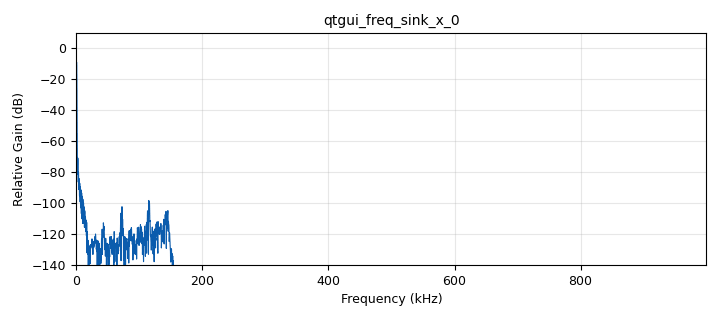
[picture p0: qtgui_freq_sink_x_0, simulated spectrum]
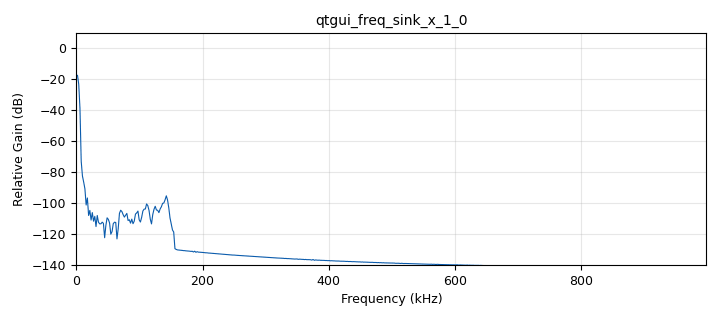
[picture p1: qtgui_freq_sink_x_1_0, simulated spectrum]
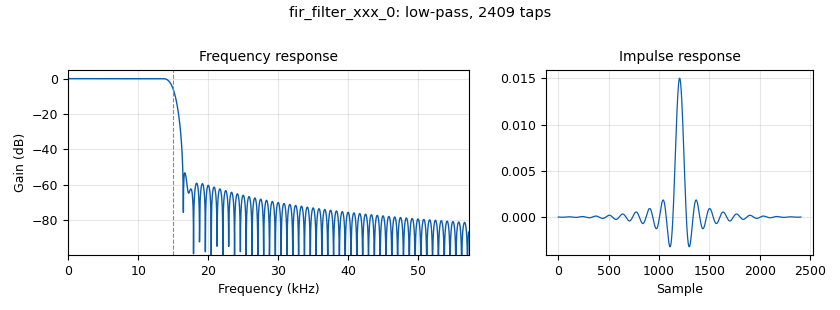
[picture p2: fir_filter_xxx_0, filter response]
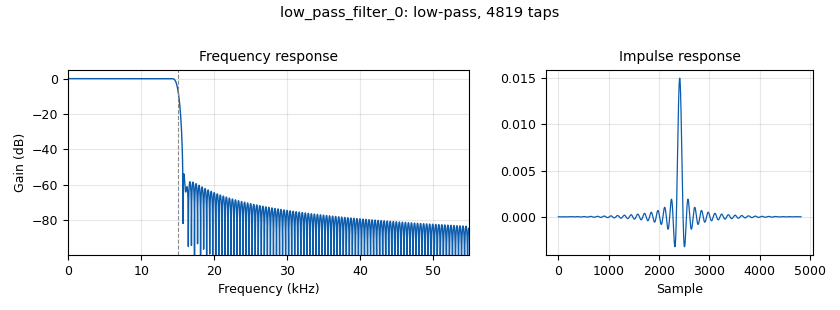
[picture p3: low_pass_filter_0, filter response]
options:
  parameters:
    generate_options: qt_gui
    id: top_block
    output_language: python
  states: {}

blocks:
- name: Amplitud_LR
  id: variable_qtgui_range
  parameters:
    start: '0'
    step: '0.1'
    stop: '1'
    value: '1'
  states: {}
- name: amp_pilot
  id: variable_qtgui_range
  parameters:
    start: '0'
    step: '0.01'
    stop: '1'
    value: '0.22'
  states: {}
- name: deltaf
  id: variable
  parameters:
    value: 75e3
  states: {}
- name: fcia
  id: variable_qtgui_range
  parameters:
    label: fcia
    start: 18e3
    step: '100'
    stop: 20e3
    value: 19e3
  states: {}
- name: frec_L
  id: variable_qtgui_range
  parameters:
    start: '0'
    step: '1'
    stop: 15e3
    value: '50'
  states: {}
- name: frec_R
  id: variable_qtgui_range
  parameters:
    start: '0'
    step: '1'
    stop: 15e3
    value: '50'
  states: {}
- name: gain
  id: variable_qtgui_range
  parameters:
    start: '0'
    step: '1'
    stop: '40'
    value: '1'
  states: {}
- name: samp_rate
  id: variable
  parameters:
    value: 2e6
  states: {}
- name: variable_low_pass_filter_taps_0
  id: variable_low_pass_filter_taps
  parameters:
    cutoff_freq: 15e3
    gain: '1.0'
    samp_rate: samp_rate
    width: 2e3
    win: window.WIN_HAMMING
  states: {}
- name: analog_const_source_x_0
  id: analog_const_source_x
  parameters:
    const: '0'
    type: float
  states: {}
- name: analog_frequency_modulator_fc_0
  id: analog_frequency_modulator_fc
  parameters:
    sensitivity: 2*np.pi*deltaf/samp_rate
  states: {}
- name: analog_pll_refout_cc_0
  id: analog_pll_refout_cc
  parameters:
    max_freq: 2 *np.pi* 19200 / samp_rate
    min_freq: 2 * np.pi* 18800 / samp_rate
    w: '100e-6'
  states: {}
- name: analog_quadrature_demod_cf_0
  id: analog_quadrature_demod_cf
  parameters:
    gain: samp_rate/(2*np.pi*deltaf)
  states: {}
- name: analog_sig_source_x_0
  id: analog_sig_source_x
  parameters:
    amp: amp_pilot
    freq: 19e3
    offset: '0'
    phase: '0'
    samp_rate: samp_rate
    type: float
    waveform: analog.GR_SIN_WAVE
  states: {}
- name: analog_sig_source_x_1
  id: analog_sig_source_x
  parameters:
    amp: '1'
    freq: 38e3
    offset: '0'
    phase: '0'
    samp_rate: samp_rate
    type: float
    waveform: analog.GR_SIN_WAVE
  states: {}
- name: analog_sig_source_x_2
  id: analog_sig_source_x
  parameters:
    amp: Amplitud_LR
    comment: L
    freq: frec_L
    offset: '0'
    phase: '0'
    samp_rate: samp_rate
    type: float
    waveform: analog.GR_COS_WAVE
  states: {}
- name: analog_sig_source_x_3
  id: analog_sig_source_x
  parameters:
    amp: Amplitud_LR
    comment: R
    freq: frec_R
    offset: '0'
    phase: '0'
    samp_rate: samp_rate
    type: float
    waveform: analog.GR_COS_WAVE
  states: {}
- name: blocks_add_xx_0
  id: blocks_add_xx
  parameters:
    type: float
  states: {}
- name: blocks_add_xx_0_0
  id: blocks_add_xx
  parameters:
    comment: Mono
    type: float
  states: {}
- name: blocks_add_xx_1
  id: blocks_add_xx
  parameters:
    comment: MPX
    num_inputs: '3'
    type: float
  states: {}
- name: blocks_complex_to_imag_0
  id: blocks_complex_to_imag
  parameters: {}
  states: {}
- name: blocks_float_to_complex_0
  id: blocks_float_to_complex
  parameters: {}
  states: {}
- name: blocks_multiply_const_vxx_0
  id: blocks_multiply_const_vxx
  parameters:
    const: '2'
    type: float
  states: {}
- name: blocks_multiply_xx_0
  id: blocks_multiply_xx
  parameters:
    type: complex
  states: {}
- name: blocks_multiply_xx_0_0
  id: blocks_multiply_xx
  parameters:
    type: float
  states: {}
- name: blocks_multiply_xx_1
  id: blocks_multiply_xx
  parameters:
    type: float
  states: {}
- name: blocks_sub_xx_0
  id: blocks_sub_xx
  parameters:
    comment: Stereo
    type: float
  states: {}
- name: blocks_sub_xx_0_0
  id: blocks_sub_xx
  parameters:
    type: float
  states: {}
- name: blocks_throttle_0
  id: blocks_throttle
  parameters:
    samples_per_second: samp_rate
    type: float
  states: {}
- name: fir_filter_xxx_0
  id: fir_filter_xxx
  parameters:
    decim: '10'
    taps: variable_low_pass_filter_taps_0
    type: fff
  states: {}
- name: fir_filter_xxx_0_0
  id: fir_filter_xxx
  parameters:
    decim: '10'
    taps: variable_low_pass_filter_taps_0
    type: fff
  states: {}
- name: import_0
  id: import
  parameters:
    imports: import numpy as np
  states: {}
- name: low_pass_filter_0
  id: low_pass_filter
  parameters:
    cutoff_freq: 15e3
    decim: '1'
    gain: '1'
    samp_rate: samp_rate
    type: fir_filter_fff
    width: 1e3
    win: window.WIN_HAMMING
  states: {}
- name: low_pass_filter_0_0
  id: low_pass_filter
  parameters:
    cutoff_freq: 15e3
    decim: '1'
    gain: '1'
    samp_rate: samp_rate
    type: fir_filter_fff
    width: 1e3
    win: window.WIN_HAMMING
  states: {}
- name: qtgui_freq_sink_x_0
  id: qtgui_freq_sink_x
  parameters:
    bw: samp_rate
    comment: L
    fc: '0'
    fftsize: '8192'
    freqhalf: 'False'
    type: float
  states: {}
- name: qtgui_freq_sink_x_1_0
  id: qtgui_freq_sink_x
  parameters:
    bw: samp_rate
    comment: R
    fc: '0'
    fftsize: '1024'
    freqhalf: 'False'
    type: float
  states: {}

connections:
- [analog_const_source_x_0, '0', blocks_float_to_complex_0, '1']
- [analog_frequency_modulator_fc_0, '0', analog_quadrature_demod_cf_0, '0']
- [analog_pll_refout_cc_0, '0', blocks_multiply_xx_0, '0']
- [analog_pll_refout_cc_0, '0', blocks_multiply_xx_0, '1']
- [analog_quadrature_demod_cf_0, '0', blocks_float_to_complex_0, '0']
- [analog_quadrature_demod_cf_0, '0', blocks_multiply_xx_1, '0']
- [analog_quadrature_demod_cf_0, '0', low_pass_filter_0_0, '0']
- [analog_sig_source_x_0, '0', blocks_add_xx_1, '0']
- [analog_sig_source_x_1, '0', blocks_multiply_xx_0_0, '0']
- [analog_sig_source_x_2, '0', blocks_add_xx_0_0, '0']
- [analog_sig_source_x_2, '0', blocks_sub_xx_0, '0']
- [analog_sig_source_x_3, '0', blocks_add_xx_0_0, '1']
- [analog_sig_source_x_3, '0', blocks_sub_xx_0, '1']
- [blocks_add_xx_0, '0', fir_filter_xxx_0, '0']
- [blocks_add_xx_0_0, '0', blocks_add_xx_1, '2']
- [blocks_add_xx_1, '0', blocks_throttle_0, '0']
- [blocks_complex_to_imag_0, '0', blocks_multiply_xx_1, '1']
- [blocks_float_to_complex_0, '0', analog_pll_refout_cc_0, '0']
- [blocks_multiply_const_vxx_0, '0', low_pass_filter_0, '0']
- [blocks_multiply_xx_0, '0', blocks_complex_to_imag_0, '0']
- [blocks_multiply_xx_0_0, '0', blocks_add_xx_1, '1']
- [blocks_multiply_xx_1, '0', blocks_multiply_const_vxx_0, '0']
- [blocks_sub_xx_0, '0', blocks_multiply_xx_0_0, '1']
- [blocks_sub_xx_0_0, '0', fir_filter_xxx_0_0, '0']
- [blocks_throttle_0, '0', analog_frequency_modulator_fc_0, '0']
- [fir_filter_xxx_0, '0', qtgui_freq_sink_x_0, '0']
- [fir_filter_xxx_0_0, '0', qtgui_freq_sink_x_1_0, '0']
- [low_pass_filter_0, '0', blocks_add_xx_0, '1']
- [low_pass_filter_0, '0', blocks_sub_xx_0_0, '1']
- [low_pass_filter_0_0, '0', blocks_add_xx_0, '0']
- [low_pass_filter_0_0, '0', blocks_sub_xx_0_0, '0']

metadata:
  file_format: 1
  grc_version: 3.10.5.1
